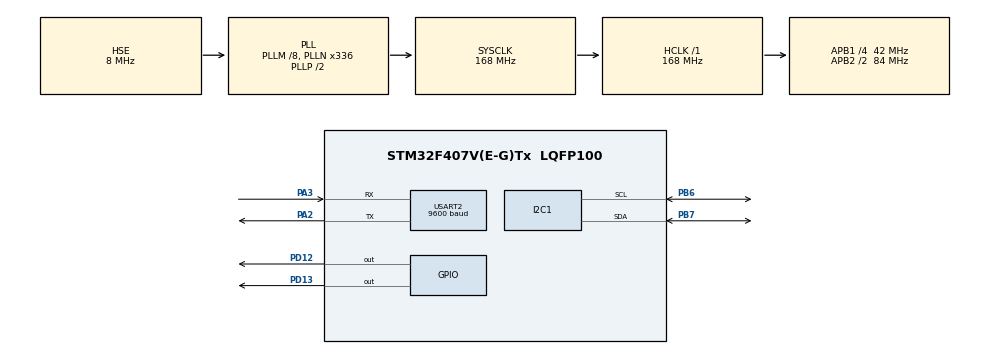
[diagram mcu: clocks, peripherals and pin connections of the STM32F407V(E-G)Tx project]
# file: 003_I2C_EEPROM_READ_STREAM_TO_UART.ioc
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Mcu.Family=STM32F4
Mcu.Name=STM32F407V(E-G)Tx
Mcu.Package=LQFP100
NVIC.PriorityGroup=NVIC_PRIORITYGROUP_0
PA2.Mode=Asynchronous
PA2.Signal=USART2_TX
PA3.Mode=Asynchronous
PA3.Signal=USART2_RX
PB6.GPIO_Pu=GPIO_PULLUP
PB6.Mode=I2C
PB6.Signal=I2C1_SCL
PB7.GPIO_Pu=GPIO_PULLUP
PB7.Mode=I2C
PB7.Signal=I2C1_SDA
PD12.Signal=GPIO_Output
PD13.Signal=GPIO_Output
PH0-OSC_IN.Mode=HSE-External-Oscillator
PH0-OSC_IN.Signal=RCC_OSC_IN
PH1-OSC_OUT.Mode=HSE-External-Oscillator
PH1-OSC_OUT.Signal=RCC_OSC_OUT
ProjectManager.HeapSize=0x200
ProjectManager.StackSize=0x400
ProjectManager.TargetToolchain=STM32CubeIDE
RCC.48MHZClocksFreq_Value=48000000
RCC.AHBFreq_Value=168000000
RCC.APB1CLKDivider=RCC_HCLK_DIV4
RCC.APB1Freq_Value=42000000
RCC.APB1TimFreq_Value=84000000
RCC.APB2CLKDivider=RCC_HCLK_DIV2
RCC.APB2Freq_Value=84000000
RCC.APB2TimFreq_Value=168000000
RCC.CortexFreq_Value=168000000
RCC.HCLKFreq_Value=168000000
RCC.HSE_VALUE=8000000
RCC.HSI_VALUE=16000000
RCC.PLLM=8
RCC.PLLN=336
RCC.PLLQ=7
RCC.PLLSourceVirtual=RCC_PLLSOURCE_HSE
RCC.SYSCLKFreq_VALUE=168000000
RCC.SYSCLKSource=RCC_SYSCLKSOURCE_PLLCLK
RCC.VCOOutputFreq_Value=336000000
USART2.BaudRate=9600
USART2.VirtualMode=VM_ASYNC
board=STM32F407G-DISC1

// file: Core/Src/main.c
/* USER CODE BEGIN Header */
/**
  ******************************************************************************
  * @file           : main.c
  * @brief          : Main program body
  ******************************************************************************
  * @attention
  *
  * Copyright (c) 2022 STMicroelectronics.
  * All rights reserved.
  *
  * This software is licensed under terms that can be found in the LICENSE file
  * in the root directory of this software component.
  * If no LICENSE file comes with this software, it is provided AS-IS.
  *
  ******************************************************************************
  */
/* USER CODE END Header */
#include "main.h"

/* USER CODE BEGIN Includes */
#include <string.h>
#include <stdlib.h>
/* USER CODE END Includes */

I2C_HandleTypeDef hi2c1;

UART_HandleTypeDef huart2;

void SystemClock_Config(void);
static void MX_GPIO_Init(void);
static void MX_I2C1_Init(void);
static void MX_USART2_UART_Init(void);
/* USER CODE BEGIN PFP */
HAL_StatusTypeDef Write_To_24LCxx(I2C_HandleTypeDef *hi2c, uint16_t DevAddress, uint16_t MemAddress, uint8_t *pData, uint16_t len);
HAL_StatusTypeDef Read_From_24LCxx(I2C_HandleTypeDef *hi2c, uint16_t DevAddress, uint16_t MemAddress, uint8_t *pData, uint16_t len);
/* USER CODE END PFP */

int main(void)
{
  /* USER CODE BEGIN 1 */
	const char wmsg[] = "We love STM32!";
	//char rmsg[20];
	uint16_t my_cursor = 0x0000;
	char mybuffer[32];
  /* USER CODE END 1 */

  /* MCU Configuration--------------------------------------------------------*/

  /* Reset of all peripherals, Initializes the Flash interface and the Systick. */
  HAL_Init();

  /* Configure the system clock */
  SystemClock_Config();

  /* Initialize all configured peripherals */
  MX_GPIO_Init();
  MX_I2C1_Init();
  MX_USART2_UART_Init();
  /* USER CODE BEGIN 2 */
  HAL_UART_Transmit(&huart2, (uint8_t*)wmsg, sizeof(wmsg), HAL_MAX_DELAY);
  HAL_Delay(500);
  while(my_cursor < 0x7D00)
  {
		Read_From_24LCxx(&hi2c1, 0xA0, my_cursor, (uint8_t*) mybuffer, 32);
		HAL_Delay(1);
		HAL_UART_Transmit(&huart2, (uint8_t*) mybuffer, 32, HAL_MAX_DELAY);
		HAL_GPIO_TogglePin(GPIOD, GPIO_PIN_12);
		HAL_Delay(1);
		my_cursor = my_cursor + 32;
  }
  /* USER CODE END 2 */

  /* Infinite loop */
  while (1)
  {

    /* USER CODE BEGIN 3 */
	  HAL_GPIO_TogglePin(GPIOD, GPIO_PIN_13);
	  HAL_Delay(200);
  }
  /* USER CODE END 3 */
}

void SystemClock_Config(void)
{
  RCC_OscInitTypeDef RCC_OscInitStruct = {0};
  RCC_ClkInitTypeDef RCC_ClkInitStruct = {0};

  /** Configure the main internal regulator output voltage
  */
  __HAL_RCC_PWR_CLK_ENABLE();
  __HAL_PWR_VOLTAGESCALING_CONFIG(PWR_REGULATOR_VOLTAGE_SCALE1);
  /** Initializes the RCC Oscillators according to the specified parameters
  * in the RCC_OscInitTypeDef structure.
  */
  RCC_OscInitStruct.OscillatorType = RCC_OSCILLATORTYPE_HSE;
  RCC_OscInitStruct.HSEState = RCC_HSE_ON;
  RCC_OscInitStruct.PLL.PLLState = RCC_PLL_ON;
  RCC_OscInitStruct.PLL.PLLSource = RCC_PLLSOURCE_HSE;
  RCC_OscInitStruct.PLL.PLLM = 8;
  RCC_OscInitStruct.PLL.PLLN = 336;
  RCC_OscInitStruct.PLL.PLLP = RCC_PLLP_DIV2;
  RCC_OscInitStruct.PLL.PLLQ = 7;
  if (HAL_RCC_OscConfig(&RCC_OscInitStruct) != HAL_OK)
  {
    Error_Handler();
  }
  /** Initializes the CPU, AHB and APB buses clocks
  */
  RCC_ClkInitStruct.ClockType = RCC_CLOCKTYPE_HCLK|RCC_CLOCKTYPE_SYSCLK
                              |RCC_CLOCKTYPE_PCLK1|RCC_CLOCKTYPE_PCLK2;
  RCC_ClkInitStruct.SYSCLKSource = RCC_SYSCLKSOURCE_PLLCLK;
  RCC_ClkInitStruct.AHBCLKDivider = RCC_SYSCLK_DIV1;
  RCC_ClkInitStruct.APB1CLKDivider = RCC_HCLK_DIV4;
  RCC_ClkInitStruct.APB2CLKDivider = RCC_HCLK_DIV2;

  if (HAL_RCC_ClockConfig(&RCC_ClkInitStruct, FLASH_LATENCY_5) != HAL_OK)
  {
    Error_Handler();
  }
}

static void MX_I2C1_Init(void)
{

  hi2c1.Instance = I2C1;
  hi2c1.Init.ClockSpeed = 100000;
  hi2c1.Init.DutyCycle = I2C_DUTYCYCLE_2;
  hi2c1.Init.OwnAddress1 = 0;
  hi2c1.Init.AddressingMode = I2C_ADDRESSINGMODE_7BIT;
  hi2c1.Init.DualAddressMode = I2C_DUALADDRESS_DISABLE;
  hi2c1.Init.OwnAddress2 = 0;
  hi2c1.Init.GeneralCallMode = I2C_GENERALCALL_DISABLE;
  hi2c1.Init.NoStretchMode = I2C_NOSTRETCH_DISABLE;
  if (HAL_I2C_Init(&hi2c1) != HAL_OK)
  {
    Error_Handler();
  }

}

static void MX_USART2_UART_Init(void)
{

  huart2.Instance = USART2;
  huart2.Init.BaudRate = 9600;
  huart2.Init.WordLength = UART_WORDLENGTH_8B;
  huart2.Init.StopBits = UART_STOPBITS_1;
  huart2.Init.Parity = UART_PARITY_NONE;
  huart2.Init.Mode = UART_MODE_TX_RX;
  huart2.Init.HwFlowCtl = UART_HWCONTROL_NONE;
  huart2.Init.OverSampling = UART_OVERSAMPLING_16;
  if (HAL_UART_Init(&huart2) != HAL_OK)
  {
    Error_Handler();
  }

}

static void MX_GPIO_Init(void)
{
  GPIO_InitTypeDef GPIO_InitStruct = {0};

  /* GPIO Ports Clock Enable */
  __HAL_RCC_GPIOH_CLK_ENABLE();
  __HAL_RCC_GPIOA_CLK_ENABLE();
  __HAL_RCC_GPIOD_CLK_ENABLE();
  __HAL_RCC_GPIOB_CLK_ENABLE();

  /*Configure GPIO pin Output Level */
  HAL_GPIO_WritePin(GPIOD, GPIO_PIN_12|GPIO_PIN_13, GPIO_PIN_RESET);

  /*Configure GPIO pins : PD12 PD13 */
  GPIO_InitStruct.Pin = GPIO_PIN_12|GPIO_PIN_13;
  GPIO_InitStruct.Mode = GPIO_MODE_OUTPUT_PP;
  GPIO_InitStruct.Pull = GPIO_NOPULL;
  GPIO_InitStruct.Speed = GPIO_SPEED_FREQ_LOW;
  HAL_GPIO_Init(GPIOD, &GPIO_InitStruct);

}

/* USER CODE BEGIN 4 */
HAL_StatusTypeDef Read_From_24LCxx(I2C_HandleTypeDef *hi2c, uint16_t DevAddress, uint16_t MemAddress, uint8_t *pData, uint16_t len) {
  HAL_StatusTypeDef returnValue;
  uint8_t addr[2];

  /* We compute the MSB and LSB parts of the memory address */
  addr[0] = (uint8_t) ((MemAddress & 0xFF00) >> 8);
  addr[1] = (uint8_t) (MemAddress & 0xFF);

  /* First we send the memory location address where start reading data */
  returnValue = HAL_I2C_Master_Transmit(hi2c, DevAddress, addr, 2, HAL_MAX_DELAY);
  if(returnValue != HAL_OK)
    return returnValue;

  /* Next we can retrieve the data from EEPROM */
  returnValue = HAL_I2C_Master_Receive(hi2c, DevAddress, pData, len, HAL_MAX_DELAY);

  return returnValue;
}
/* USER CODE END 4 */

void Error_Handler(void)
{
  __disable_irq();
  while (1)
  {
  }
}
